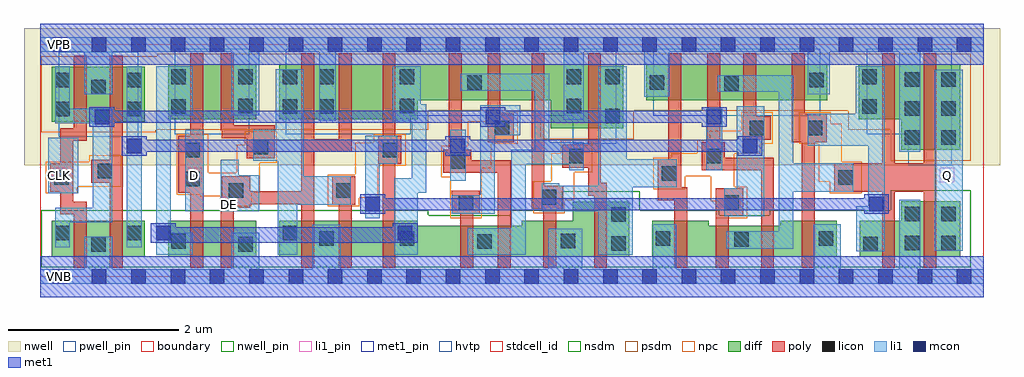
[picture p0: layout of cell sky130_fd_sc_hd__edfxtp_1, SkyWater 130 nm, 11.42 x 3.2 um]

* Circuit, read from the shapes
.subckt sky130_fd_sc_hd__edfxtp_1 CLK D DE Q VGND VNB VPB VPWR
XM1 VGND CLK n1 VNB sky130_fd_pr__nfet_01v8 w=0.42 l=0.15
XM2 n2 n1 VGND VNB sky130_fd_pr__nfet_01v8 w=0.42 l=0.15
XM3 n3 D n4 VNB sky130_fd_pr__nfet_01v8 w=0.42 l=0.15
XM4 VGND DE n3 VNB sky130_fd_pr__nfet_01v8 w=0.42 l=0.15
XM5 VGND DE n5 VNB sky130_fd_pr__nfet_01v8 w=0.42 l=0.15
XM6 n6 n5 VGND VNB sky130_fd_pr__nfet_01v8 w=0.42 l=0.15
XM7 n4 n7 n6 VNB sky130_fd_pr__nfet_01v8 w=0.42 l=0.15
XM8 n8 n1 n4 VNB sky130_fd_pr__nfet_01v8 w=0.36 l=0.15
XM9 n9 n2 n8 VNB sky130_fd_pr__nfet_01v8 w=0.36 l=0.15
XM10 VGND n10 n9 VNB sky130_fd_pr__nfet_01v8 w=0.42 l=0.15
XM11 n10 n8 VGND VNB sky130_fd_pr__nfet_01v8 w=0.64 l=0.15
XM12 n11 n10 VGND VNB sky130_fd_pr__nfet_01v8 w=0.42 l=0.15
XM13 n12 n2 n11 VNB sky130_fd_pr__nfet_01v8 w=0.36 l=0.15
XM14 n13 n1 n12 VNB sky130_fd_pr__nfet_01v8 w=0.36 l=0.15
XM15 VGND n7 n13 VNB sky130_fd_pr__nfet_01v8 w=0.42 l=0.15
XM16 VGND n12 n7 VNB sky130_fd_pr__nfet_01v8 w=0.42 l=0.15
XM17 Q n12 VGND VNB sky130_fd_pr__nfet_01v8 w=0.65 l=0.15
XM18 VPWR CLK n1 VPB sky130_fd_pr__pfet_01v8_hvt w=0.64 l=0.15
XM19 n2 n1 VPWR VPB sky130_fd_pr__pfet_01v8_hvt w=0.64 l=0.15
XM20 n14 D n4 VPB sky130_fd_pr__pfet_01v8_hvt w=0.64 l=0.15
XM21 VPWR n5 n14 VPB sky130_fd_pr__pfet_01v8_hvt w=0.64 l=0.15
XM22 VPWR DE n5 VPB sky130_fd_pr__pfet_01v8_hvt w=0.64 l=0.15
XM23 n15 DE VPWR VPB sky130_fd_pr__pfet_01v8_hvt w=0.64 l=0.15
XM24 n4 n7 n15 VPB sky130_fd_pr__pfet_01v8_hvt w=0.64 l=0.15
XM25 n8 n2 n4 VPB sky130_fd_pr__pfet_01v8_hvt w=0.42 l=0.15
XM26 n16 n1 n8 VPB sky130_fd_pr__pfet_01v8_hvt w=0.42 l=0.15
XM27 VPWR n10 n16 VPB sky130_fd_pr__pfet_01v8_hvt w=0.42 l=0.15
XM28 n10 n8 VPWR VPB sky130_fd_pr__pfet_01v8_hvt w=0.75 l=0.15
XM29 n17 n10 VPWR VPB sky130_fd_pr__pfet_01v8_hvt w=0.42 l=0.15
XM30 n12 n1 n17 VPB sky130_fd_pr__pfet_01v8_hvt w=0.42 l=0.15
XM31 n18 n2 n12 VPB sky130_fd_pr__pfet_01v8_hvt w=0.42 l=0.15
XM32 VPWR n7 n18 VPB sky130_fd_pr__pfet_01v8_hvt w=0.42 l=0.15
XM33 VPWR n12 n7 VPB sky130_fd_pr__pfet_01v8_hvt w=0.64 l=0.15
XM34 Q n12 VPWR VPB sky130_fd_pr__pfet_01v8_hvt w=1 l=0.15
.ends

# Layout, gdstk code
import gdstk
lib = gdstk.Library(unit=1e-6, precision=1e-09)
def R(c, l, rs):  # rectangles x0, y0, x1, y1
    for r in rs: c.add(gdstk.rectangle(r[:2], r[2:], *l))
def A(c, l, x, y, w, h, nx, ny, dx, dy):  # array of equal rectangles
    R(c, l, [(x+i*dx, y+j*dy, x+i*dx+w, y+j*dy+h) for i in range(nx) for j in range(ny)])
nwell_pin = (64, 16)
nwell = (64, 20)
diff = (65, 20)
poly = (66, 20)
licon = (66, 44)
li1_pin = (67, 16)
li1 = (67, 20)
mcon = (67, 44)
met1_pin = (68, 16)
met1 = (68, 20)
hvtp = (78, 44)
stdcell_id = (81, 4)
nsdm = (93, 44)
psdm = (94, 20)
npc = (95, 20)
pwell_pin = (122, 16)
boundary = (235, 4)

sky130_fd_sc_hd__edfxtp_ = lib.new_cell('sky130_fd_sc_hd__edfxtp_1')
R(sky130_fd_sc_hd__edfxtp_, nwell_pin, [(0.145,2.635,0.315,2.805)])
R(sky130_fd_sc_hd__edfxtp_, nwell, [(-0.19,1.305,11.23,2.91)])
R(sky130_fd_sc_hd__edfxtp_, diff, [(0.135,0.235,1.225,0.655), (1.495,0.235,2.525,0.655), (2.795,0.235,6.89,0.595), (7.16,0.235,9.32,0.595), (9.59,0.235,10.765,0.655), (2.795,0.595,4.415,0.655), (5.635,0.595,6.89,0.655), (7.16,0.595,7.82,0.655), (8.66,0.595,9.32,0.655), (6.23,0.655,6.89,0.875), (10.075,0.655,10.765,0.885), (10.075,1.485,10.765,1.845), (5.975,1.735,6.82,2.065), (0.135,1.815,1.225,2.455), (1.495,1.845,2.525,2.485), (2.795,1.845,4.415,2.065), (9.58,1.845,10.765,2.485), (2.795,2.065,6.82,2.485), (7.09,2.065,9.21,2.485)])
R(sky130_fd_sc_hd__edfxtp_, poly, [(0.395,0.105,0.545,0.73), (0.815,0.105,0.965,1.1), (1.755,0.105,1.905,0.98), (2.115,0.105,2.265,0.81), (3.055,0.105,3.205,0.85), (3.495,0.105,3.645,0.845), (4.005,0.105,4.155,1.32), (4.915,0.105,5.065,0.735), (5.355,0.105,5.505,1.215), (5.885,0.105,6.035,0.795), (6.48,0.105,6.63,0.95), (7.42,0.105,7.57,0.895), (7.905,0.105,8.055,0.705), (8.435,0.105,8.585,1.245), (8.91,0.105,9.06,1.575), (9.85,0.105,10,0.995), (10.335,0.105,10.485,0.995), (7.905,0.705,8.225,1.035), (0.235,0.73,0.545,0.88), (4.815,0.735,5.145,1.005), (5.75,0.795,6.12,1.065), (2.115,0.81,2.455,0.85), (3.415,0.845,3.685,1.175), (2.115,0.85,3.205,0.88), (0.235,0.88,0.385,0.995), (2.125,0.88,3.205,1), (7.225,0.895,7.57,1.045), (6.41,0.95,6.63,1.1), (1.615,0.98,1.915,1.65), (0.115,0.995,0.385,1.325), (9.29,0.995,10.485,1.325), (2.125,1,2.455,1.175), (3.055,1,3.205,1.46), (7.225,1.045,7.5,1.375), (5.75,1.065,5.9,2.615), (0.595,1.1,0.965,1.37), (6.41,1.1,6.56,1.275), (4.715,1.215,5.505,1.365), (7.74,1.245,8.585,1.395), (6.11,1.275,6.56,1.545), (3.955,1.32,4.225,1.65), (0.235,1.325,0.385,1.59), (9.85,1.325,10,2.615), (10.335,1.325,10.485,2.615), (4.715,1.365,5.045,1.485), (0.815,1.37,0.965,2.585), (7.35,1.375,7.5,2.615), (2.415,1.385,2.745,1.62), (7.74,1.395,8.01,1.575), (3.055,1.46,3.645,1.61), (4.78,1.485,4.93,2.615), (6.41,1.545,6.56,2.615), (5.235,1.575,5.54,1.905), (7.805,1.575,7.955,2.615), (8.795,1.575,9.2,1.905), (0.235,1.59,0.545,1.74), (8.22,1.605,8.55,1.875), (3.055,1.61,3.205,2.615), (3.495,1.61,3.645,2.615), (2.125,1.62,2.745,1.715), (1.755,1.65,1.905,2.615), (4.005,1.65,4.155,2.615), (2.115,1.715,2.745,1.77), (0.395,1.74,0.545,2.585), (2.115,1.77,2.265,2.615), (8.225,1.875,8.375,2.615), (5.235,1.905,5.385,2.615), (8.795,1.905,8.945,2.615)])
A(sky130_fd_sc_hd__edfxtp_, licon, 10.115, 1.545, 0.17, 0.17, 1, 3, 0, 0.34)
A(sky130_fd_sc_hd__edfxtp_, licon, 10.545, 1.545, 0.17, 0.17, 1, 3, 0, 0.34)
R(sky130_fd_sc_hd__edfxtp_, licon, [(0.595,0.295,0.765,0.465), (2.315,0.295,2.485,0.465), (9.63,0.3,9.8,0.47), (6.68,0.305,6.85,0.475), (10.115,0.31,10.285,0.48), (10.545,0.31,10.715,0.48), (5.115,0.325,5.285,0.495), (1.535,0.33,1.705,0.5), (6.09,0.335,6.26,0.505), (8.12,0.35,8.29,0.52), (3.265,0.36,3.435,0.53), (4.205,0.36,4.375,0.53), (7.2,0.365,7.37,0.535), (9.11,0.365,9.28,0.535), (0.175,0.425,0.345,0.595), (1.015,0.425,1.185,0.595), (2.835,0.425,3.005,0.595), (6.68,0.645,6.85,0.815), (10.115,0.65,10.285,0.82), (10.545,0.65,10.715,0.82), (4.895,0.785,5.065,0.955), (8.005,0.785,8.175,0.955), (5.87,0.845,6.04,1.015), (2.205,0.925,2.375,1.095), (3.465,0.925,3.635,1.095), (1.695,1.06,1.865,1.23), (0.165,1.075,0.335,1.245), (9.34,1.075,9.51,1.245), (7.275,1.125,7.445,1.295), (0.675,1.15,0.845,1.32), (4.795,1.265,4.965,1.435), (6.19,1.325,6.36,1.495), (7.79,1.325,7.96,1.495), (1.695,1.4,1.865,1.57), (4.005,1.4,4.175,1.57), (2.495,1.435,2.665,1.605), (5.32,1.655,5.49,1.825), (8.3,1.655,8.47,1.825), (8.98,1.655,9.15,1.825), (6.61,1.795,6.78,1.965), (0.175,1.875,0.345,2.045), (1.015,1.875,1.185,2.045), (1.535,1.905,1.705,2.075), (2.835,1.905,3.005,2.075), (3.265,1.905,3.435,2.075), (9.62,1.905,9.79,2.075), (2.315,1.915,2.485,2.085), (4.205,1.915,4.375,2.085), (6.16,1.915,6.33,2.085), (0.595,2.135,0.765,2.305), (8.005,2.175,8.175,2.345), (4.995,2.19,5.165,2.36), (7.13,2.19,7.3,2.36), (0.175,2.215,0.345,2.385), (1.015,2.215,1.185,2.385), (9,2.215,9.17,2.385), (1.535,2.255,1.705,2.425), (2.315,2.255,2.485,2.425), (2.835,2.255,3.005,2.425), (3.265,2.255,3.435,2.425), (4.205,2.255,4.375,2.425), (6.16,2.255,6.33,2.425), (6.61,2.255,6.78,2.425), (9.62,2.255,9.79,2.425)])
R(sky130_fd_sc_hd__edfxtp_, li1_pin, [(2.13,0.765,2.3,0.935), (0.145,1.105,0.315,1.275), (1.72,1.105,1.89,1.275), (10.525,1.105,10.695,1.275)])
R(sky130_fd_sc_hd__edfxtp_, li1, [(0,-0.085,11.04,0.085), (0.515,0.085,0.845,0.465), (2.235,0.085,2.565,0.515), (3.185,0.085,3.515,0.61), (5.945,0.085,6.34,0.56), (7.165,0.085,7.44,0.615), (9.05,0.085,9.365,0.615), (10.05,0.085,10.295,0.9), (1.355,0.255,1.785,0.515), (2.78,0.255,3.005,0.845), (4.145,0.255,4.415,0.98), (5.005,0.255,5.68,0.565), (6.53,0.255,6.935,0.765), (9.55,0.3,9.88,0.825), (10.465,0.305,10.795,2.42), (8.025,0.33,8.81,0.535), (0.175,0.345,0.345,0.635), (1.015,0.345,1.185,2.465), (1.355,0.515,1.525,1.89), (8.64,0.535,8.81,0.995), (5.51,0.565,5.68,1.315), (0.175,0.635,0.845,0.805), (3.805,0.685,3.975,1.32), (8.005,0.705,8.47,1.035), (4.815,0.735,5.32,0.955), (1.695,0.765,1.915,1.72), (2.11,0.765,2.565,1.185), (5.87,0.765,6.935,1.045), (0.615,0.805,0.845,1.795), (9.69,0.825,9.88,1.53), (2.78,0.845,3.635,1.175), (5.15,0.955,5.32,1.655), (0.095,0.975,0.445,1.625), (4.145,0.98,4.515,1.15), (8.64,0.995,9.51,1.325), (8.15,1.035,8.47,1.995), (5.87,1.045,7.445,1.065), (5.87,1.065,6.07,1.095), (6.53,1.065,7.445,1.375), (4.795,1.125,4.98,1.72), (4.345,1.15,4.515,1.82), (2.78,1.175,3.085,1.355), (2.11,1.185,2.325,1.37), (6.19,1.245,6.36,1.315), (7.79,1.245,7.98,1.965), (5.51,1.315,6.36,1.485), (3.805,1.32,4.175,1.65), (8.64,1.325,8.81,2.165), (2.495,1.355,3.085,1.72), (6.53,1.375,6.86,2.465), (10.05,1.465,10.295,2.635), (5.785,1.485,6.36,1.575), (8.98,1.53,9.88,1.905), (5.785,1.575,5.955,2.175), (5.15,1.655,5.615,2.005), (2.755,1.72,3.085,2.425), (0.175,1.795,0.845,1.965), (4.125,1.82,4.515,2.02), (3.265,1.825,3.46,2.635), (6.125,1.835,6.36,2.635), (1.355,1.89,1.785,2.465), (2.235,1.89,2.565,2.635), (9.54,1.905,9.88,2.465), (0.175,1.965,0.345,2.465), (4.125,2.02,4.455,2.465), (7.07,2.105,7.36,2.635), (0.515,2.135,0.845,2.635), (8.98,2.135,9.24,2.635), (7.925,2.165,8.81,2.355), (4.915,2.175,5.955,2.375), (0,2.635,11.04,2.805)])
A(sky130_fd_sc_hd__edfxtp_, mcon, 0.145, -0.085, 0.17, 0.17, 24, 2, 0.46, 2.72)
R(sky130_fd_sc_hd__edfxtp_, mcon, [(1.355,0.425,1.525,0.595), (4.185,0.425,4.355,0.595), (3.805,0.765,3.975,0.935), (9.7,0.765,9.87,0.935), (1.015,1.445,1.185,1.615), (4.8,1.445,4.97,1.615), (8.22,1.445,8.39,1.615), (0.635,1.785,0.805,1.955), (5.21,1.785,5.38,1.955), (7.8,1.785,7.97,1.955)])
R(sky130_fd_sc_hd__edfxtp_, met1_pin, [(0.145,-0.085,0.315,0.085), (0.145,2.635,0.315,2.805)])
R(sky130_fd_sc_hd__edfxtp_, met1, [(0,-0.24,11.04,0.24), (1.295,0.395,4.415,0.58), (1.295,0.58,1.585,0.625), (4.125,0.58,4.415,0.625), (3.745,0.735,4.035,0.78), (9.64,0.735,9.93,0.78), (3.745,0.78,9.93,0.92), (3.745,0.92,4.035,0.965), (9.64,0.92,9.93,0.965), (0.955,1.415,1.245,1.46), (4.74,1.415,5.03,1.46), (8.16,1.415,8.45,1.46), (0.955,1.46,8.45,1.6), (0.955,1.6,1.245,1.645), (4.74,1.6,5.03,1.645), (8.16,1.6,8.45,1.645), (0.575,1.755,0.865,1.8), (5.15,1.755,5.44,1.8), (7.74,1.755,8.03,1.8), (0.575,1.8,8.03,1.94), (0.575,1.94,0.865,1.985), (5.15,1.94,5.44,1.985), (7.74,1.94,8.03,1.985), (0,2.48,11.04,2.96)])
R(sky130_fd_sc_hd__edfxtp_, hvtp, [(10.155,1.305,10.665,1.665), (6.23,1.555,6.74,1.885), (0.215,1.635,1.145,2.635), (1.575,1.665,2.445,2.665), (2.875,1.665,4.335,1.885), (9.67,1.665,10.665,2.665), (2.875,1.885,6.74,2.665), (7.17,1.885,9.125,2.665)])
R(sky130_fd_sc_hd__edfxtp_, stdcell_id, [(0,0,11.04,2.72)])
R(sky130_fd_sc_hd__edfxtp_, nsdm, [(0.01,0.11,10.89,0.72), (0.01,0.72,4.54,0.78), (5.51,0.72,7.945,0.78), (8.535,0.72,10.89,0.78), (6.105,0.78,7.015,1), (9.95,0.78,10.89,1.01)])
R(sky130_fd_sc_hd__edfxtp_, psdm, [(9.95,1.36,10.89,1.72), (5.85,1.61,6.945,1.94), (0.01,1.69,1.35,1.72), (0.01,1.72,4.54,1.94), (9.455,1.72,10.89,1.94), (0.01,1.94,10.89,2.58), (1.37,2.58,10.89,2.61)])
R(sky130_fd_sc_hd__edfxtp_, npc, [(4.795,0.685,5.165,1.165), (7.905,0.685,8.275,0.885), (5.77,0.745,6.14,0.895), (2.105,0.825,2.475,0.94), (3.365,0.825,3.735,0.925), (7.845,0.885,8.275,1.055), (5.77,0.895,6.25,1.115), (3.365,0.925,3.955,1.195), (1.87,0.94,2.475,0.96), (1.595,0.96,2.475,0.985), (0.065,0.975,0.435,1.05), (9.24,0.975,9.61,1.11), (1.595,0.985,2.57,1.215), (7.175,1.025,7.545,1.175), (0.065,1.05,0.945,1.345), (7.845,1.055,8.12,1.175), (9.11,1.11,9.61,1.345), (5.98,1.115,6.25,1.225), (4.695,1.165,5.165,1.27), (7.175,1.175,8.12,1.395), (3.685,1.195,3.955,1.3), (1.595,1.215,1.965,1.67), (2.3,1.215,2.57,1.335), (5.98,1.225,6.46,1.445), (4.695,1.27,5.28,1.535), (3.685,1.3,4.275,1.57), (2.3,1.335,2.765,1.545), (0.575,1.345,0.945,1.42), (9.11,1.345,9.38,1.555), (7.385,1.395,8.12,1.44), (7.385,1.44,8.425,1.445), (6.09,1.445,6.46,1.595), (7.69,1.445,8.425,1.555), (5.005,1.535,5.28,1.555), (2.395,1.545,2.765,1.705), (5.005,1.555,5.59,1.82), (7.69,1.555,8.57,1.595), (8.88,1.555,9.38,1.79), (3.905,1.57,4.275,1.67), (7.835,1.595,8.57,1.71), (8.2,1.71,8.57,1.925), (8.88,1.79,9.25,1.925), (5.22,1.82,5.59,1.925)])
R(sky130_fd_sc_hd__edfxtp_, pwell_pin, [(0.145,-0.085,0.315,0.085)])
R(sky130_fd_sc_hd__edfxtp_, boundary, [(0,0,11.04,2.72)])
sky130_fd_sc_hd__edfxtp_.add(gdstk.Label('VPB', (0.23,2.72), layer=64, texttype=5))
sky130_fd_sc_hd__edfxtp_.add(gdstk.Label('VNB', (0.23,0), layer=64, texttype=59))
sky130_fd_sc_hd__edfxtp_.add(gdstk.Label('VNB', (0.23,0), layer=64, texttype=59))
sky130_fd_sc_hd__edfxtp_.add(gdstk.Label('VPWR', (0.23,2.72), layer=68, texttype=5))
sky130_fd_sc_hd__edfxtp_.add(gdstk.Label('VGND', (0.23,0), layer=68, texttype=5))
sky130_fd_sc_hd__edfxtp_.add(gdstk.Label('CLK', (0.23,1.19), layer=67, texttype=5))
sky130_fd_sc_hd__edfxtp_.add(gdstk.Label('DE', (2.215,0.85), layer=67, texttype=5))
sky130_fd_sc_hd__edfxtp_.add(gdstk.Label('Q', (10.61,1.19), layer=67, texttype=5))
sky130_fd_sc_hd__edfxtp_.add(gdstk.Label('D', (1.805,1.19), layer=67, texttype=5))
sky130_fd_sc_hd__edfxtp_.add(gdstk.Label('VPB', (0.23,2.72), layer=64, texttype=5))
sky130_fd_sc_hd__edfxtp_.add(gdstk.Label('VNB', (0.23,0), layer=64, texttype=59))

lib.write_gds('sky130_fd_sc_hd__edfxtp_1.gds')
